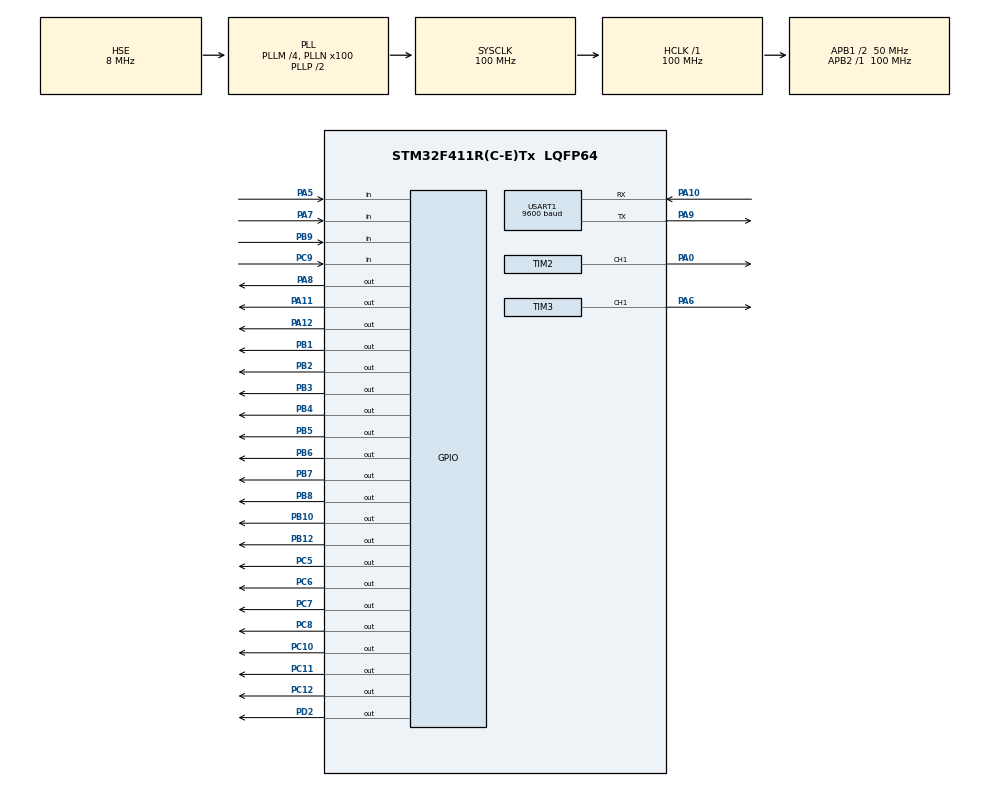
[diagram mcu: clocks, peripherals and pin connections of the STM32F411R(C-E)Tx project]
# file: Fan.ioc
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Dma.Request0=USART1_RX
Dma.USART1_RX.0.Direction=DMA_PERIPH_TO_MEMORY
Dma.USART1_RX.0.FIFOMode=DMA_FIFOMODE_DISABLE
Dma.USART1_RX.0.Instance=DMA2_Stream2
Dma.USART1_RX.0.MemDataAlignment=DMA_MDATAALIGN_BYTE
Dma.USART1_RX.0.MemInc=DMA_MINC_ENABLE
Dma.USART1_RX.0.Mode=DMA_NORMAL
Dma.USART1_RX.0.PeriphDataAlignment=DMA_PDATAALIGN_BYTE
Dma.USART1_RX.0.PeriphInc=DMA_PINC_DISABLE
Dma.USART1_RX.0.Priority=DMA_PRIORITY_LOW
Mcu.Family=STM32F4
Mcu.Name=STM32F411R(C-E)Tx
Mcu.Package=LQFP64
NVIC.DMA2_Stream2_IRQn=true\:0\:0\:false\:false\:true\:false\:true\:true
NVIC.PriorityGroup=NVIC_PRIORITYGROUP_4
NVIC.TIM1_TRG_COM_TIM11_IRQn=true\:0\:0\:false\:false\:true\:true\:true\:true
NVIC.TIM1_UP_TIM10_IRQn=true\:0\:0\:false\:false\:true\:true\:true\:true
NVIC.TIM4_IRQn=true\:0\:0\:false\:false\:true\:true\:true\:true
NVIC.TIM5_IRQn=true\:0\:0\:false\:false\:true\:true\:true\:true
PA0-WKUP.Signal=S_TIM2_CH1_ETR
PA10.Mode=Asynchronous
PA10.Signal=USART1_RX
PA11.GPIO_Speed=GPIO_SPEED_FREQ_VERY_HIGH
PA11.Signal=GPIO_Output
PA12.GPIO_Speed=GPIO_SPEED_FREQ_VERY_HIGH
PA12.Signal=GPIO_Output
PA13.Mode=Serial_Wire
PA13.Signal=SYS_JTMS-SWDIO
PA14.Mode=Serial_Wire
PA14.Signal=SYS_JTCK-SWCLK
PA5.GPIO_PuPd=GPIO_PULLUP
PA5.Signal=GPIO_Input
PA6.Signal=S_TIM3_CH1
PA7.GPIO_PuPd=GPIO_PULLUP
PA7.Signal=GPIO_Input
PA8.GPIO_Speed=GPIO_SPEED_FREQ_VERY_HIGH
PA8.PinState=GPIO_PIN_RESET
PA8.Signal=GPIO_Output
PA9.Mode=Asynchronous
PA9.Signal=USART1_TX
PB1.GPIO_Speed=GPIO_SPEED_FREQ_VERY_HIGH
PB1.Signal=GPIO_Output
PB10.GPIO_Speed=GPIO_SPEED_FREQ_VERY_HIGH
PB10.Signal=GPIO_Output
PB12.GPIO_Speed=GPIO_SPEED_FREQ_VERY_HIGH
PB12.Signal=GPIO_Output
PB2.GPIO_Speed=GPIO_SPEED_FREQ_VERY_HIGH
PB2.Signal=GPIO_Output
PB3.GPIO_Speed=GPIO_SPEED_FREQ_VERY_HIGH
PB3.Signal=GPIO_Output
PB4.GPIO_Speed=GPIO_SPEED_FREQ_VERY_HIGH
PB4.Signal=GPIO_Output
PB5.GPIO_Speed=GPIO_SPEED_FREQ_VERY_HIGH
PB5.Signal=GPIO_Output
PB6.GPIO_Speed=GPIO_SPEED_FREQ_VERY_HIGH
PB6.Signal=GPIO_Output
PB7.GPIO_ModeDefaultOutputPP=GPIO_MODE_OUTPUT_PP
PB7.GPIO_PuPd=GPIO_NOPULL
PB7.PinState=GPIO_PIN_SET
PB7.Signal=GPIO_Output
PB8.Signal=GPIO_Output
PB9.GPIO_PuPd=GPIO_PULLUP
PB9.Signal=GPIO_Input
PC10.GPIO_Speed=GPIO_SPEED_FREQ_VERY_HIGH
PC10.Signal=GPIO_Output
PC11.GPIO_Speed=GPIO_SPEED_FREQ_VERY_HIGH
PC11.Signal=GPIO_Output
PC12.GPIO_Speed=GPIO_SPEED_FREQ_VERY_HIGH
PC12.Signal=GPIO_Output
PC5.GPIO_Speed=GPIO_SPEED_FREQ_VERY_HIGH
PC5.Signal=GPIO_Output
PC6.GPIO_Speed=GPIO_SPEED_FREQ_VERY_HIGH
PC6.Signal=GPIO_Output
PC7.GPIO_Speed=GPIO_SPEED_FREQ_VERY_HIGH
PC7.Signal=GPIO_Output
PC8.GPIO_Speed=GPIO_SPEED_FREQ_VERY_HIGH
PC8.Signal=GPIO_Output
PC9.GPIO_PuPd=GPIO_PULLUP
PC9.Signal=GPIO_Input
PD2.GPIO_Speed=GPIO_SPEED_FREQ_VERY_HIGH
PD2.Signal=GPIO_Output
PH0\ -\ OSC_IN.Mode=HSE-External-Clock-Source
PH0\ -\ OSC_IN.Signal=RCC_OSC_IN
PH1\ -\ OSC_OUT.Mode=HSE-External-Clock-Source
PH1\ -\ OSC_OUT.Signal=RCC_OSC_OUT
ProjectManager.HeapSize=0x200
ProjectManager.StackSize=0x400
ProjectManager.TargetToolchain=STM32CubeIDE
RCC.48MHZClocksFreq_Value=50000000
RCC.AHBFreq_Value=100000000
RCC.APB1CLKDivider=RCC_HCLK_DIV2
RCC.APB1Freq_Value=50000000
RCC.APB1TimFreq_Value=100000000
RCC.APB2Freq_Value=100000000
RCC.APB2TimFreq_Value=100000000
RCC.CortexFreq_Value=100000000
RCC.HCLKFreq_Value=100000000
RCC.HSE_VALUE=8000000
RCC.HSI_VALUE=16000000
RCC.LSE_VALUE=32768
RCC.PLLM=4
RCC.PLLN=100
RCC.PLLSourceVirtual=RCC_PLLSOURCE_HSE
RCC.SYSCLKFreq_VALUE=100000000
RCC.SYSCLKSource=RCC_SYSCLKSOURCE_PLLCLK
RCC.VCOOutputFreq_Value=200000000
SH.S_TIM2_CH1_ETR.0=TIM2_CH1,PWM Generation1 CH1
SH.S_TIM3_CH1.0=TIM3_CH1,PWM Generation1 CH1
TIM1.AutoReloadPreload=TIM_AUTORELOAD_PRELOAD_ENABLE
TIM1.Period=10000
TIM1.Prescaler=10000
TIM10.AutoReloadPreload=TIM_AUTORELOAD_PRELOAD_ENABLE
TIM10.Period=200
TIM10.Prescaler=10000-1
TIM11.Period=30000-1
TIM11.Prescaler=10000-1
TIM2.AutoReloadPreload=TIM_AUTORELOAD_PRELOAD_ENABLE
TIM2.Channel-PWM\ Generation1\ CH1=TIM_CHANNEL_1
TIM2.Period=20000-1
TIM2.Prescaler=100-1
TIM3.Channel-PWM\ Generation1\ CH1=TIM_CHANNEL_1
TIM3.OCMode_PWM-PWM\ Generation1\ CH1=TIM_OCMODE_PWM2
TIM3.Period=10-1
TIM3.Prescaler=400-1
TIM4.Period=100
TIM4.Prescaler=1000
TIM5.Period=1000
TIM5.Prescaler=1000
USART1.BaudRate=9600
USART1.VirtualMode=VM_ASYNC
VP_TIM10_VS_ClockSourceINT.Mode=Enable_Timer
VP_TIM10_VS_OPM.Mode=OPM_bit
VP_TIM11_VS_ClockSourceINT.Mode=Enable_Timer
VP_TIM1_VS_ClockSourceINT.Mode=Internal
VP_TIM2_VS_ClockSourceINT.Mode=Internal
VP_TIM3_VS_ClockSourceINT.Mode=Internal
VP_TIM4_VS_ClockSourceINT.Mode=Internal
VP_TIM5_VS_ClockSourceINT.Mode=Internal
board=custom

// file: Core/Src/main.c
/* USER CODE BEGIN Header */
/**
 ******************************************************************************
 * @file           : main.c
 * @brief          : Main program body
 ******************************************************************************
 */
/* USER CODE END Header */
#include "main.h"
#include "dma.h"
#include "tim.h"
#include "usart.h"
#include "gpio.h"

/* USER CODE BEGIN Includes */
// 분리된 모듈 헤더 포함
#include "button.h"
#include "fan_controller.h"
#include "app_timer.h"
/* USER CODE END Includes */

/* USER CODE BEGIN PTD */
// 버튼 설정을 위한 구조체
typedef struct {
	GPIO_TypeDef *port;
	uint16_t pin;
} PinConfig_t;
/* USER CODE END PTD */

/* USER CODE BEGIN PV */
// 전역 객체 인스턴스 (구조체 변수)
FanController_t gFan;
AppTimer_t gTimer;
Button_t gBtns[4];
uint8_t rxData;

// 버튼 하드웨어 매핑 설정
const PinConfig_t BTN_PINS[4] = { { GPIOC, GPIO_PIN_9 }, // btn1
		{ GPIOA, GPIO_PIN_5 }, // btn2
		{ GPIOB, GPIO_PIN_9 }, // btn3
		{ GPIOA, GPIO_PIN_7 }  // btn4
};

/* USER CODE END PV */

void SystemClock_Config(void);
/* USER CODE BEGIN PFP */

void beep() {
	HAL_GPIO_WritePin(GPIOB, GPIO_PIN_8, GPIO_PIN_SET);
	__HAL_TIM_SET_COUNTER(&htim10, 0);
	HAL_TIM_Base_Start_IT(&htim10);
}

void beepWhenTurnOn() {
	if (gFan.powerIdx <= 0)
		return;
	HAL_GPIO_WritePin(GPIOB, GPIO_PIN_8, GPIO_PIN_SET);
	__HAL_TIM_SET_COUNTER(&htim10, 0);
	HAL_TIM_Base_Start_IT(&htim10);
}

/* USER CODE END PFP */

int main(void)
{

  /* MCU Configuration--------------------------------------------------------*/

  /* Reset of all peripherals, Initializes the Flash interface and the Systick. */
  HAL_Init();

  /* Configure the system clock */
  SystemClock_Config();

  /* Initialize all configured peripherals */
  MX_GPIO_Init();
  MX_DMA_Init();
  MX_TIM2_Init();
  MX_TIM3_Init();
  MX_USART1_UART_Init();
  MX_TIM1_Init();
  MX_TIM4_Init();
  MX_TIM5_Init();
  MX_TIM10_Init();
  MX_TIM11_Init();
  /* USER CODE BEGIN 2 */

	// 1. 모듈 초기화
	Fan_Init(&gFan);               // 선풍기/서보 초기화
	AppTimer_Init(&gTimer, &gFan); // 타이머 초기화 (선풍기 제어권 전달)

	// 2. 버튼 초기화
	for (int i = 0; i < 4; i++) {
		Button_Init(&gBtns[i], BTN_PINS[i].port, BTN_PINS[i].pin,
				GPIO_PIN_RESET);
	}

	// 3. 시스템 동작 시작
	HAL_UART_Receive_DMA(&huart1, &rxData, 1); // UART 수신 대기
	HAL_TIM_Base_Start_IT(&htim4);             // 디스플레이용 타이머 시작

  /* USER CODE END 2 */

  /* Infinite loop */
  /* USER CODE BEGIN WHILE */
	while (1) {
		// 버튼 폴링 및 기능 실행
		if (Button_GetEvent(&gBtns[0]) == BTN_PRESSED) {
			beep();
			if(gTimer.timerIsSettingByButton) AppTimer_ProcessButton(&gTimer, INCREASE);
			else Fan_SetStronger(&gFan);
		}

		if (Button_GetEvent(&gBtns[1]) == BTN_PRESSED) {
			beepWhenTurnOn();
			if(gTimer.timerIsSettingByButton) AppTimer_ProcessButton(&gTimer, DECREASE);
			else Fan_SetWeaker(&gFan, &gTimer);
		}

		ButtonEvent_t btn2Evt = Button_GetEvent(&gBtns[2]);
		ButtonEvent_t btn3Evt = Button_GetEvent(&gBtns[3]);

		if (btn2Evt == BTN_RELEASED) {
			beepWhenTurnOn();
			Fan_ToggleRotation(&gFan);
		}

		if (btn2Evt == BTN_LONG) {
			beepWhenTurnOn();
			Fan_ToggleNaturalWind(&gFan);
		}

		if (btn3Evt == BTN_RELEASED) {
			beepWhenTurnOn();
			AppTimer_ProcessButton(&gTimer, NEXT);
		}

		if (btn3Evt == BTN_LONG) {
			beepWhenTurnOn();
			AppTimer_ProcessButton(&gTimer, DONE);
		}

    /* USER CODE END WHILE */

	}
}

void SystemClock_Config(void)
{
  RCC_OscInitTypeDef RCC_OscInitStruct = {0};
  RCC_ClkInitTypeDef RCC_ClkInitStruct = {0};

  /** Configure the main internal regulator output voltage
  */
  __HAL_RCC_PWR_CLK_ENABLE();
  __HAL_PWR_VOLTAGESCALING_CONFIG(PWR_REGULATOR_VOLTAGE_SCALE1);

  /** Initializes the RCC Oscillators according to the specified parameters
  * in the RCC_OscInitTypeDef structure.
  */
  RCC_OscInitStruct.OscillatorType = RCC_OSCILLATORTYPE_HSE;
  RCC_OscInitStruct.HSEState = RCC_HSE_BYPASS;
  RCC_OscInitStruct.PLL.PLLState = RCC_PLL_ON;
  RCC_OscInitStruct.PLL.PLLSource = RCC_PLLSOURCE_HSE;
  RCC_OscInitStruct.PLL.PLLM = 4;
  RCC_OscInitStruct.PLL.PLLN = 100;
  RCC_OscInitStruct.PLL.PLLP = RCC_PLLP_DIV2;
  RCC_OscInitStruct.PLL.PLLQ = 4;
  if (HAL_RCC_OscConfig(&RCC_OscInitStruct) != HAL_OK)
  {
    Error_Handler();
  }

  /** Initializes the CPU, AHB and APB buses clocks
  */
  RCC_ClkInitStruct.ClockType = RCC_CLOCKTYPE_HCLK|RCC_CLOCKTYPE_SYSCLK
                              |RCC_CLOCKTYPE_PCLK1|RCC_CLOCKTYPE_PCLK2;
  RCC_ClkInitStruct.SYSCLKSource = RCC_SYSCLKSOURCE_PLLCLK;
  RCC_ClkInitStruct.AHBCLKDivider = RCC_SYSCLK_DIV1;
  RCC_ClkInitStruct.APB1CLKDivider = RCC_HCLK_DIV2;
  RCC_ClkInitStruct.APB2CLKDivider = RCC_HCLK_DIV1;

  if (HAL_RCC_ClockConfig(&RCC_ClkInitStruct, FLASH_LATENCY_3) != HAL_OK)
  {
    Error_Handler();
  }
}

/* USER CODE BEGIN 4 */

//UART 수신 완료 콜백
void HAL_UART_RxCpltCallback(UART_HandleTypeDef *huart) {
	if (huart->Instance == USART1) {

		HAL_UART_Receive_DMA(&huart1, &rxData, 1);             // 다음 수신 준비

		// 숫자/특수문자 -> 타이머 입력 처리
		if ((rxData >= '0' && rxData <= '9') || rxData == '*') {
			beepWhenTurnOn();
			AppTimer_ProcessInput(&gTimer, rxData);
		}

		// 알파벳 -> 선풍기 제어
		switch (rxData) {
		case 'A':
			beep();
			Fan_SetStronger(&gFan);
			break;
		case 'B':
			beepWhenTurnOn();
			Fan_SetWeaker(&gFan, &gTimer);
			break;
		case 'C':
			beepWhenTurnOn();
			Fan_ToggleRotation(&gFan);
			break;
		case 'D':
			Fan_ToggleNaturalWind(&gFan);
			break;
		default:
			break;
		}
	}
}

//타이머 콜백
void HAL_TIM_PeriodElapsedCallback(TIM_HandleTypeDef *htim) {
	// TIM1: 1초 (타이머 카운트다운)
	if (htim->Instance == TIM1) {
		AppTimer_Tick(&gTimer);
	}
	// TIM4: 1ms (FND 디스플레이 멀티플렉싱)
	if (htim->Instance == TIM4) {
		AppTimer_ShowDisplay(&gTimer, gTimer.particularSetting, (gTimer.timerIsSettingByButton && !gTimer.particularSetting)); //타이머 버튼으로 상세 세팅중인 상태면 마지막 자리 깜빡이기
	}
	// TIM5: 10ms (서보모터 회전 제어, 자연풍 제어)
	if (htim->Instance == TIM5) {
		Fan_Tick(&gFan);
	}
	// TIM10: 50ms버저 끄기
	if (htim->Instance == TIM10) {
		HAL_GPIO_WritePin(GPIOB, GPIO_PIN_8, GPIO_PIN_RESET);
		HAL_TIM_Base_Stop_IT(&htim10);
	}
	// TIM11: 3초 LED 표시 원래대로 전환
	if (htim->Instance == TIM11){
		Fan_RotationDisplayTimeout(&gFan);
	}
}

/* USER CODE END 4 */

void Error_Handler(void)
{
	__disable_irq();
	while (1) {
	}
}
